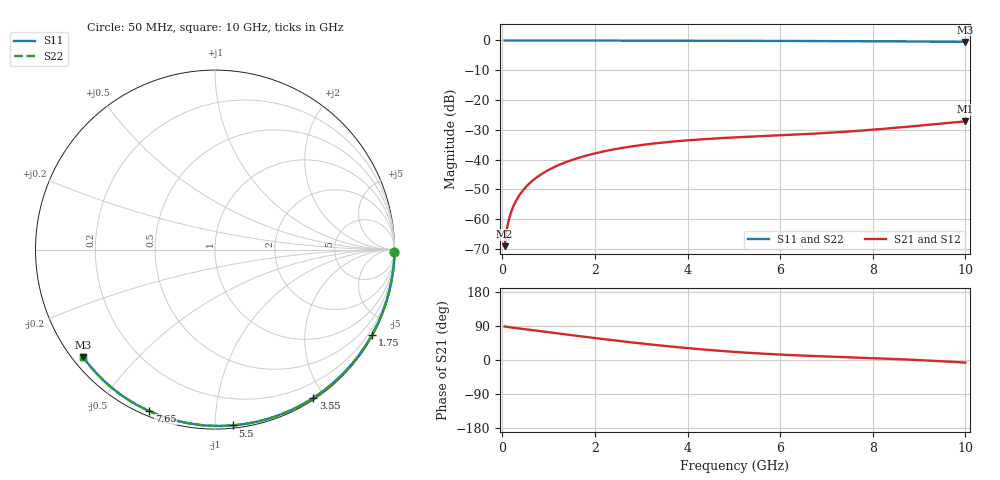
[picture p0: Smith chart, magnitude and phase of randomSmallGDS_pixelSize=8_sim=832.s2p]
! freq	dB(S11)	phase(S11)	dB(S12)	phase(S12)
!  dB(S21)	phase(S21)	dB(S22)	phase(S22)
!S-par simulation data
#  GHz  S  DB  R 50
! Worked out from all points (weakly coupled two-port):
!   200 points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, 50 MHz to 10 GHz, reference 50 ohm
!   highest |S21| = -27.15 dB at 10 GHz (marker M1); lowest = -69.1 dB at 50 MHz (marker M2)
!   lowest |S11| = -0.5 dB at 10 GHz (marker M3), VSWR 37.17, Z = 1.52 - j17.8 ohm
!   |S11| at or under -10 dB: nowhere
!   |S22| runs from -0.5 to 0.0 dB; largest |S21 - S12| = 0
!   S11 on the Smith chart (normalised r, x): 50 MHz: open; 1.75 GHz: 0.03, -3.93; 3.55 GHz: 0.02, -1.86; 5.5 GHz: 0.02, -1.11; 7.65 GHz: 0.02, -0.67; 10 GHz: 0.03, -0.36
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0.05  -0.00 -0.8  -69.06 88.5  -69.06 88.5  -0.00 -0.8
0.1  -0.00 -1.7  -63.11 87.4  -63.11 87.4  -0.00 -1.7
0.15  -0.00 -2.5  -59.65 86.5  -59.65 86.5  -0.00 -2.5
0.2  -0.00 -3.3  -57.20 85.8  -57.20 85.8  -0.00 -3.3
0.25  -0.00 -4.2  -55.29 85.0  -55.29 85.0  -0.00 -4.2
0.35  -0.00 -5.8  -52.41 83.6  -52.41 83.6  -0.00 -5.8
0.5  -0.01 -8.3  -49.35 81.3  -49.35 81.3  -0.01 -8.3
0.7  -0.01 -11.6  -46.48 78.1  -46.48 78.1  -0.01 -11.6
1  -0.02 -16.5  -43.46 73.4  -43.46 73.4  -0.02 -16.5
1.35  -0.03 -22.1  -40.99 67.9  -40.99 67.9  -0.03 -22.1
1.75  -0.04 -28.6  -38.93 61.7  -38.93 61.7  -0.04 -28.6
2.5  -0.05 -40.4  -36.31 50.6  -36.31 50.6  -0.05 -40.4
3.4  -0.07 -54.2  -34.38 38.5  -34.38 38.5  -0.07 -54.2
3.55  -0.08 -56.4  -34.14 36.6  -34.14 36.6  -0.08 -56.4
4.3  -0.10 -67.4  -33.19 28.1  -33.19 28.1  -0.10 -67.4
5.05  -0.12 -78.1  -32.52 21.1  -32.52 21.1  -0.12 -78.0
5.5  -0.14 -84.2  -32.19 17.6  -32.19 17.6  -0.14 -84.2
6.7  -0.19 -100.1  -31.31 10.6  -31.31 10.6  -0.19 -100.1
7.65  -0.25 -112.2  -30.38 6.5  -30.38 6.5  -0.25 -112.1
8.35  -0.30 -120.8  -29.51 3.3  -29.51 3.3  -0.30 -120.8
9.2  -0.38 -131.1  -28.33 -1.5  -28.33 -1.5  -0.38 -131.1
10  -0.47 -140.7  -27.15 -6.9  -27.15 -6.9  -0.47 -140.7
